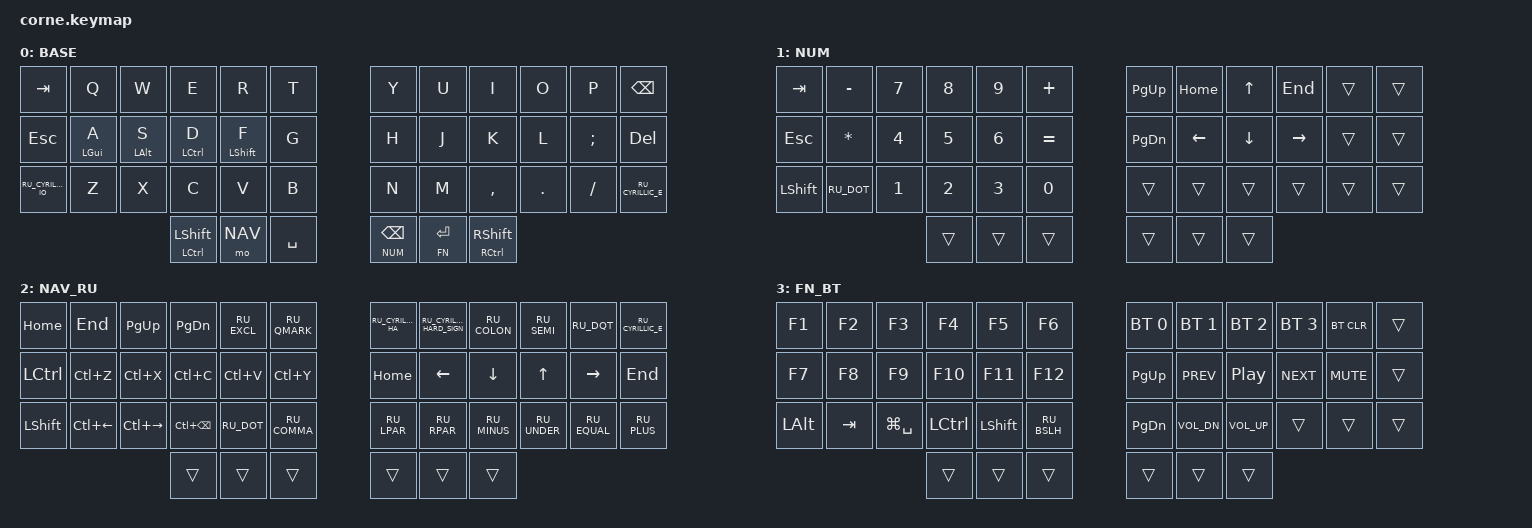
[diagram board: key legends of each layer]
#include <behaviors.dtsi>
#include <dt-bindings/zmk/keys.h>
#include <dt-bindings/zmk/bt.h>
#include "keys_ru.h"

#define BASE 0
#define NUM 1
#define NAV 2
#define FN 3

/ {

behaviors {
    sticky_shift_quick: sticky_shift_quick {
        compatible = "zmk,behavior-sticky-key";
        #binding-cells = <1>;
        release-after-ms = <1200>;
        quick-release;
        bindings = <&kp>;
    };

    thumb_shift_ctrl: thumb_shift_ctrl {
        compatible = "zmk,behavior-hold-tap";
        #binding-cells = <2>;
        flavor = "tap-preferred";
        tapping-term-ms = <180>;
        quick-tap-ms = <150>;
        require-prior-idle-ms = <100>;
        hold-trigger-on-release;
        bindings = <&kp>, <&sticky_shift_quick>;
    };

    thumb_layer: thumb_layer {
        compatible = "zmk,behavior-hold-tap";
        #binding-cells = <2>;
        flavor = "tap-preferred";
        tapping-term-ms = <220>;
        quick-tap-ms = <180>;
        bindings = <&mo>, <&kp>;
    };
};

keymap {
    compatible = "zmk,keymap";

    /* BASE */
    default_layer {
        bindings = <

&kp TAB   &kp Q   &kp W   &kp E   &kp R   &kp T          &kp Y   &kp U   &kp I   &kp O   &kp P   &kp BSPC
&kp ESC   &mt LGUI A &mt LALT S &mt LCTRL D &mt LSHFT F &kp G   &kp H   &kp J   &kp K   &kp L   &kp SEMI &kp DEL
&kp RU_CYRILLIC_IO &kp Z   &kp X   &kp C   &kp V   &kp B          &kp N   &kp M   &kp COMMA &kp DOT &kp SLASH &kp RU_CYRILLIC_E

                &thumb_shift_ctrl LCTRL LSHFT  &mo NAV  &kp SPACE      &thumb_layer NUM BSPC  &thumb_layer FN ENTER  &thumb_shift_ctrl RCTRL RSHFT
        >;

        label = "BASE";
    };

    /* NUM */
    num_layer {
        bindings = <

&kp TAB &kp MINUS &kp N7 &kp N8 &kp N9 &kp PLUS     &kp PG_UP &kp HOME  &kp UP    &kp END   &trans &trans
&kp ESC &kp STAR  &kp N4 &kp N5 &kp N6 &kp EQUAL      &kp PG_DN &kp LEFT  &kp DOWN  &kp RIGHT &trans &trans
&kp LSHFT &kp RU_DOT &kp N1 &kp N2 &kp N3 &kp N0    &trans    &trans    &trans    &trans    &trans &trans

        &trans &trans &trans &trans &trans &trans
        >;

        label = "NUM";
    };

    /* NAV + RU punctuation; host layout must be Russian for RU_* symbols. */
    nav_layer {
        bindings = <
&kp HOME &kp END &kp PG_UP &kp PG_DN &kp RU_EXCL &kp RU_QMARK       &kp RU_CYRILLIC_HA &kp RU_CYRILLIC_HARD_SIGN &kp RU_COLON &kp RU_SEMI &kp RU_DQT &kp RU_CYRILLIC_E
&kp LCTRL &kp LC(Z) &kp LC(X) &kp LC(C) &kp LC(V) &kp LC(Y)        &kp HOME &kp LEFT &kp DOWN &kp UP &kp RIGHT &kp END
&kp LSHFT &kp LC(LEFT) &kp LC(RIGHT) &kp LC(BSPC) &kp RU_DOT &kp RU_COMMA   &kp RU_LPAR &kp RU_RPAR &kp RU_MINUS &kp RU_UNDER &kp RU_EQUAL &kp RU_PLUS
        &trans &trans &trans &trans &trans &trans
        >;
        label = "NAV_RU";
    };

    /* FN */
    fn_layer {
        bindings = <

&kp F1 &kp F2 &kp F3 &kp F4 &kp F5 &kp F6       &bt BT_SEL 0 &bt BT_SEL 1 &bt BT_SEL 2 &bt BT_SEL 3 &bt BT_CLR &trans
&kp F7 &kp F8 &kp F9 &kp F10 &kp F11 &kp F12    &kp PG_UP    &kp C_PREV   &kp C_PP     &kp C_NEXT   &kp C_MUTE &trans
&kp LALT &kp TAB &kp LG(SPACE) &kp LCTRL &kp LSHFT &kp RU_BSLH       &kp PG_DN    &kp C_VOL_DN &kp C_VOL_UP &trans       &trans     &trans

        &trans &trans &trans &trans &trans &trans
        >;

        label = "FN_BT";
    };
};

};
